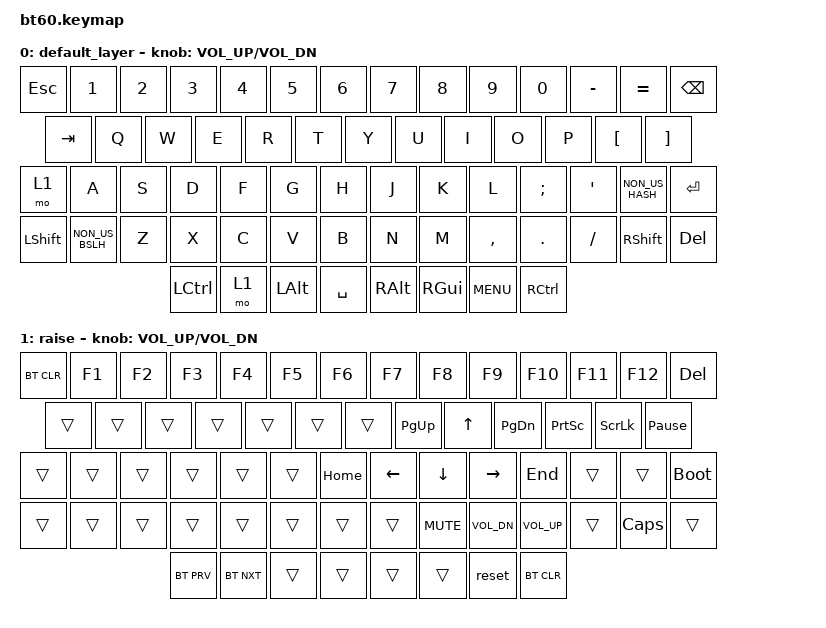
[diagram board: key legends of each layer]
#include <behaviors.dtsi>
#include <dt-bindings/zmk/keys.h>
#include <dt-bindings/zmk/bt.h>


/ {
	keymap {
		compatible = "zmk,keymap";

		default_layer {
				// ------------------------------------------------------------------------------------------
				// |  `  |  1  |  2  |  3  |  4  |  5  |  6  |  7  |  8  |  9  |  0  |  -  |  =  |   BKSP
				// | TAB  |  Q  |  W  |  E  |  R  |  T  |  Y  |  U  |  I  |  O  |  P  |  [  |  ]  |        |
				// | CAPS  |  A  |  S  |  D  |  F  |  G  |  H  |  J  |  K  |  L  |  ;  |  '  |  #  | ENTER |
				// |  SHIFT|  \ |  Z  |  X  |  C  |  V  |  B  |  N  |  M  |  ,  |  .  | /   |    SHIFT    |
				// |  CTL  |  WIN  |  ALT  |            SPACE               | ALT | 1    |  MENU    |  CTRL|
				// ------------------------------------------------------------------------------------------
			bindings = <

				&kp ESC &kp N1 &kp N2 &kp N3 &kp N4 &kp N5 &kp N6 &kp N7 &kp  N8   &kp  N9 &kp  N0  &kp MINUS &kp EQUAL &kp BSPC
				&kp TAB  &kp Q  &kp W  &kp E  &kp R  &kp T  &kp Y  &kp U  &kp  I    &kp  O  &kp  P   &kp LBKT &kp RBKT
				&mo 1  &kp A  &kp S  &kp D  &kp F  &kp G  &kp H  &kp J  &kp  K    &kp  L  &kp SEMI &kp SQT &kp NON_US_HASH  &kp RET
				&kp LSHFT &kp NON_US_BSLH &kp Z  &kp X  &kp C  &kp V  &kp B  &kp N  &kp M  &kp COMMA &kp DOT &kp FSLH         &kp RSHFT &kp DEL
				&kp LCTRL &mo 1 &kp LALT            &kp SPACE                          &kp RALT  &kp RGUI &kp C_MENU    &kp RCTRL
			>;
			sensor-bindings = <&inc_dec_kp C_VOL_UP C_VOL_DN>;
		};
		raise {
			bindings = <
				&bt BT_CLR &kp F1 &kp F2 &kp F3 &kp F4 &kp F5 &kp F6 &kp F7 &kp F8 &kp F9 &kp F10 &kp F11 &kp F12 &kp DEL
				&trans &trans &trans &trans &trans &trans &trans &kp PG_UP &kp UP &kp PG_DN &kp PSCRN &kp SLCK &kp PAUSE_BREAK
				&trans    &trans &trans &trans &trans &trans &kp HOME &kp LEFT &kp DOWN &kp RIGHT &kp END  &trans &trans  &bootloader
				&trans &trans &trans &trans &trans &trans &trans &trans &kp C_MUTE &kp C_VOL_DN &kp C_VOL_UP &trans  &kp CLCK &trans
				&bt BT_PRV &bt BT_NXT  &trans              &trans                            &trans   &trans   &reset &bt BT_CLR
			>;
			sensor-bindings = <&inc_dec_kp C_VOL_UP C_VOL_DN>;
		};
	};
};
